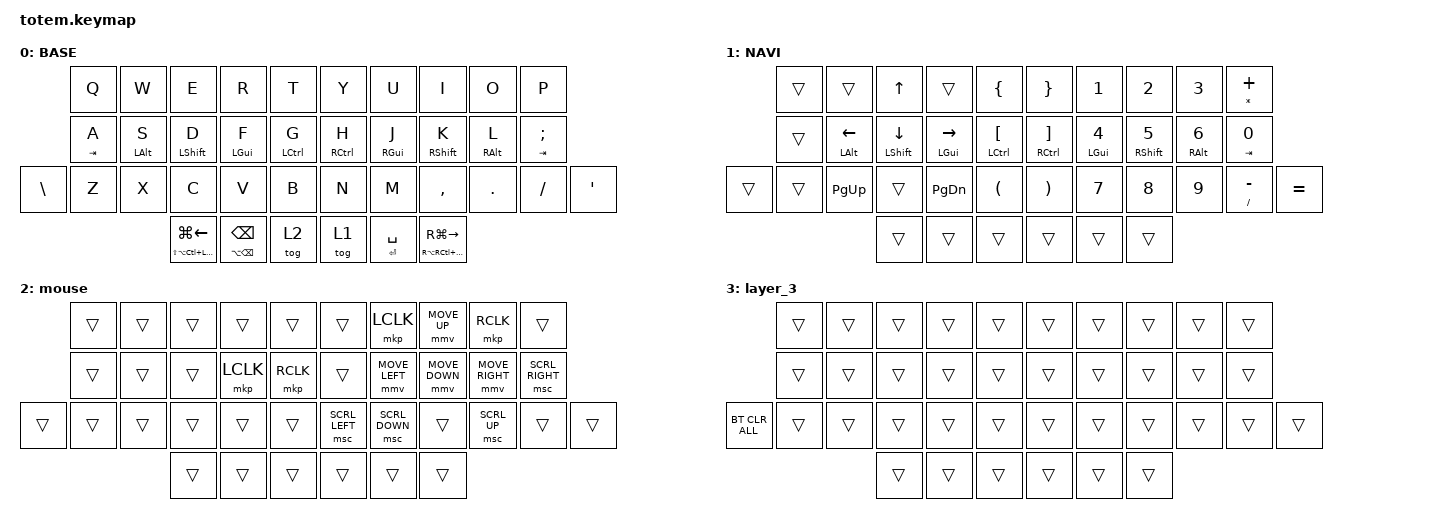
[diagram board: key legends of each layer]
//
//                                                        ▀▀▀▀▀     ▀▀▀▀▀          ▀▀█▀▀
//                                                        ▄▀▀▀▄  ▄  ▄▀▀▀▄  ▄  ▄▀▀▀▄  █  ▄▀▀▀▄
//                                                        █   █  █  █   █  █  █   █  █  █   █
//                                                         ▀▀▀   █   ▀▀▀   █   ▀▀▀   ▀   ▀▀▀
//                                                               █      ▄▄▄█▄▄▄    █   █  
//                                                               ▀      █  █  █     █▄█
//                                                             ▀▀▀▀▀    █  █  █      ▀
//                                                                      ▀  ▀  ▀
//
// ▄▄▄▄▄▄▄▄▄▄▄▄▄▄▄▄▄▄▄▄▄▄▄▄▄▄▄▄▄▄▄▄▄▄▄▄▄▄▄▄▄▄▄▄▄▄▄▄▄▄▄▄▄▄▄▄▄▄▄▄▄▄▄▄▄▄▄▄▄▄▄▄▄▄▄▄▄▄▄▄▄▄▄▄▄▄▄▄▄▄▄▄▄▄▄▄▄▄▄▄▄▄▄▄▄▄▄▄▄▄▄▄▄▄▄▄▄▄▄▄▄▄▄▄▄▄▄▄▄▄▄▄▄▄▄▄▄▄▄▄▄▄▄▄▄▄▄▄▄

#include <behaviors.dtsi>
#include <dt-bindings/zmk/bt.h>
#include <dt-bindings/zmk/keys.h>
#include <dt-bindings/zmk/pointing.h>
#include <dt-bindings/zmk/pointing.h>
#include <dt-bindings/zmk/pointing.h>

#define BASE 0
#define NAV  1
#define SYM  2
#define ADJ  3
#define TVP1 4
#define TVP2 5

&mt {
    quick-tap-ms = <100>;
    global-quick-tap;
    flavor = "tap-preferred";
    tapping-term-ms = <170>;
};

/ {
    combos {
        compatible = "zmk,combos";

        LayerKill {
            bindings = <&to 0>;
            key-positions = <34 35>;
        };

        TO3 {
            bindings = <&to 3>;
            key-positions = <32 37>;
        };
    };

    macros {
        gif: gif {
            label = "giphy";
            compatible = "zmk,behavior-macro";
            #binding-cells = <0>;
            bindings =
                <&macro_press>,
                <&kp LSHFT>,
                <&macro_tap>,
                <&kp N2>,
                <&macro_release>,
                <&kp LSHFT>,
                <&macro_tap>,
                <&kp G &kp I &kp F>;
        };
    };

    keymap {
        compatible = "zmk,keymap";

        // ▄▄▄▄▄▄▄▄▄▄▄▄▄▄▄▄▄▄▄▄▄▄▄▄▄▄▄▄▄▄▄▄▄▄▄▄▄▄▄▄▄▄▄▄▄▄▄▄▄▄▄▄▄▄▄▄▄▄▄▄▄▄▄▄▄▄▄▄▄▄▄▄▄▄▄▄▄▄▄▄▄▄▄▄▄▄▄▄▄▄▄▄▄▄▄▄▄▄▄▄▄▄▄▄▄▄▄▄▄▄▄▄▄▄▄▄▄▄▄▄▄▄▄▄▄▄▄▄▄▄▄▄▄▄▄▄▄▄▄▄▄▄▄▄▄▄▄▄▄

        base_layer {
            // ┏━━━━━━━━━━━━━━━━━━━━━━━━━━━━━━━━━━━━━━━┓

            label = "BASE";

            // ┗━━━━━━━━━━━━━━━━━━━━━━━━━━━━━━━━━━━━━━━┛
            //             ┏━━━━━━━━━━━┳━━━━━━━━━━━┳━━━━━━━━━━━┳━━━━━━━━━━━┳━━━━━━━━━━━┓   ┏━━━━━━━━━━━┳━━━━━━━━━━━┳━━━━━━━━━━━┳━━━━━━━━━━━┳━━━━━━━━━━━┓
            //             ┃     Q     ┃     W     ┃     F     ┃     P     ┃     G     ┃   ┃     J     ┃     L     ┃     U     ┃     Y     ┃     ;     ┃
            //             ┣━━━━━━━━━━━╋━━━━━━━━━━━╋━━━━━━━━━━━╋━━━━━━━━━━━╋━━━━━━━━━━━┫   ┣━━━━━━━━━━━╋━━━━━━━━━━━╋━━━━━━━━━━━╋━━━━━━━━━━━╋━━━━━━━━━━━┫
            //             ┃     A     ┃     R     ┃     S     ┃     T     ┃     D     ┃   ┃     H     ┃     N     ┃     E     ┃     I     ┃     O     ┃
            // ┏━━━━━━━━━━━╋━━━━━━━━━━━╋━━━━━━━━━━━╋━━━━━━━━━━━╋━━━━━━━━━━━╋━━━━━━━━━━━┫   ┣━━━━━━━━━━━╋━━━━━━━━━━━╋━━━━━━━━━━━╋━━━━━━━━━━━╋━━━━━━━━━━━╋━━━━━━━━━━━┓
            // ┃     Q     ┃     Z     ┃     X     ┃     C     ┃     V     ┃     B     ┃   ┃     K     ┃     M     ┃     ,     ┃     .     ┃     /     ┃     \     ┃
            // ┗━━━━━━━━━━━┻━━━━━━━━━━━┻━━━━━━━━━━━╋━━━━━━━━━━━╋━━━━━━━━━━━╋━━━━━━━━━━━┫   ┣━━━━━━━━━━━╋━━━━━━━━━━━╋━━━━━━━━━━━╋━━━━━━━━━━━┻━━━━━━━━━━━┻━━━━━━━━━━━┛
            //                                     ┃    DEL    ┃    TAB    ┃    SPC    ┃   ┃   ENTER   ┃           ┃   BSPC    ┃
            //                                     ┗━━━━━━━━━━━┻━━━━━━━━━━━┻━━━━━━━━━━━┛   ┗━━━━━━━━━━━┻━━━━━━━━━━━┻━━━━━━━━━━━┛

            bindings = <
               &kp Q      &kp W       &kp E                              &kp R                        &kp T                 &kp Y                &kp U             &kp I                                &kp O       &kp P
               &mt TAB A  &mt LALT S  &mt LEFT_SHIFT D                   &mt LGUI F                   &mt LEFT_CONTROL G    &mt RIGHT_CONTROL H  &mt RGUI J        &mt RIGHT_SHIFT K                    &mt RALT L  &mt TAB SEMI
&kp BACKSLASH  &kp Z      &kp X       &kp C                              &kp V                        &kp B                 &kp N                &kp M             &kp COMMA                            &kp DOT     &kp FSLH      &kp APOS
                                      &mt LS(LA(LC(LEFT_GUI))) LG(LEFT)  &mt LA(BACKSPACE) BACKSPACE  &tog 2                &tog 1               &mt RETURN SPACE  &mt RA(RC(RS(RIGHT_GUI))) RG(RIGHT)
            >;
        };

        // ▄▄▄▄▄▄▄▄▄▄▄▄▄▄▄▄▄▄▄▄▄▄▄▄▄▄▄▄▄▄▄▄▄▄▄▄▄▄▄▄▄▄▄▄▄▄▄▄▄▄▄▄▄▄▄▄▄▄▄▄▄▄▄▄▄▄▄▄▄▄▄▄▄▄▄▄▄▄▄▄▄▄▄▄▄▄▄▄▄▄▄▄▄▄▄▄▄▄▄▄▄▄▄▄▄▄▄▄▄▄▄▄▄▄▄▄▄▄▄▄▄▄▄▄▄▄▄▄▄▄▄▄▄▄▄▄▄▄▄▄▄▄▄▄▄▄▄▄▄

        nav_layer {
            // ┏━━━━━━━━━━━━━━━━━━━━━━━━━━━━━━━━━━━━━━━┓

            label = "NAVI";

            // ┗━━━━━━━━━━━━━━━━━━━━━━━━━━━━━━━━━━━━━━━┛
            //             ┏━━━━━━━━━━━┳━━━━━━━━━━━┳━━━━━━━━━━━┳━━━━━━━━━━━┳━━━━━━━━━━━┓   ┏━━━━━━━━━━━┳━━━━━━━━━━━┳━━━━━━━━━━━┳━━━━━━━━━━━┳━━━━━━━━━━━┓
            //             ┃           ┃           ┃     UP    ┃           ┃     {     ┃   ┃     }     ┃     7     ┃     8     ┃     9     ┃     +     ┃
            //             ┣━━━━━━━━━━━╋━━━━━━━━━━━╋━━━━━━━━━━━╋━━━━━━━━━━━╋━━━━━━━━━━━┫   ┣━━━━━━━━━━━╋━━━━━━━━━━━╋━━━━━━━━━━━╋━━━━━━━━━━━╋━━━━━━━━━━━┫
            //             ┃   SHIFT   ┃   LEFT    ┃    DOWN   ┃   RIGHT   ┃     [     ┃   ┃     ]     ┃     4     ┃     5     ┃     6     ┃     -     ┃
            // ┏━━━━━━━━━━━╋━━━━━━━━━━━╋━━━━━━━━━━━╋━━━━━━━━━━━╋━━━━━━━━━━━╋━━━━━━━━━━━┫   ┣━━━━━━━━━━━╋━━━━━━━━━━━╋━━━━━━━━━━━╋━━━━━━━━━━━╋━━━━━━━━━━━╋━━━━━━━━━━━┓
            // ┃           ┃           ┃   P UP    ┃  C LOCK   ┃  P DOWN   ┃     (     ┃   ┃     )     ┃     1     ┃     2     ┃     3     ┃     *     ┃           ┃
            // ┗━━━━━━━━━━━┻━━━━━━━━━━━┻━━━━━━━━━━━╋━━━━━━━━━━━╋━━━━━━━━━━━╋━━━━━━━━━━━┫   ┣━━━━━━━━━━━╋━━━━━━━━━━━╋━━━━━━━━━━━╋━━━━━━━━━━━┻━━━━━━━━━━━┻━━━━━━━━━━━┛
            //                                     ┃           ┃    TAB    ┃    SPC    ┃   ┃    DEL    ┃     0     ┃           ┃
            //                                     ┗━━━━━━━━━━━┻━━━━━━━━━━━┻━━━━━━━━━━━┛   ┗━━━━━━━━━━━┻━━━━━━━━━━━┻━━━━━━━━━━━┛

            bindings = <
        &trans  &trans                   &kp UP                     &trans          &kp LBRC                  &kp RBRC                         &kp NUMBER_1       &kp NUMBER_2        &kp NUMBER_3            &mt ASTERISK PLUS
        &trans  &mt LEFT_ALT LEFT_ARROW  &mt LEFT_SHIFT DOWN_ARROW  &mt LGUI RIGHT  &mt LCTRL LEFT_BRACKET    &mt RIGHT_CONTROL RIGHT_BRACKET  &mt LGUI NUMBER_4  &mt RIGHT_SHIFT N5  &mt RIGHT_ALT NUMBER_6  &mt TAB N0
&trans  &trans  &kp PG_UP                &trans                     &kp PG_DN       &kp LPAR                  &kp RPAR                         &kp N7             &kp N8              &kp N9                  &mt SLASH MINUS    &kp EQUAL
                                         &trans                     &trans          &trans                    &trans                           &trans             &trans
            >;
        };

        // ▄▄▄▄▄▄▄▄▄▄▄▄▄▄▄▄▄▄▄▄▄▄▄▄▄▄▄▄▄▄▄▄▄▄▄▄▄▄▄▄▄▄▄▄▄▄▄▄▄▄▄▄▄▄▄▄▄▄▄▄▄▄▄▄▄▄▄▄▄▄▄▄▄▄▄▄▄▄▄▄▄▄▄▄▄▄▄▄▄▄▄▄▄▄▄▄▄▄▄▄▄▄▄▄▄▄▄▄▄▄▄▄▄▄▄▄▄▄▄▄▄▄▄▄▄▄▄▄▄▄▄▄▄▄▄▄▄▄▄▄▄▄▄▄▄▄▄▄▄
        // ▄▄▄▄▄▄▄▄▄▄▄▄▄▄▄▄▄▄▄▄▄▄▄▄▄▄▄▄▄▄▄▄▄▄▄▄▄▄▄▄▄▄▄▄▄▄▄▄▄▄▄▄▄▄▄▄▄▄▄▄▄▄▄▄▄▄▄▄▄▄▄▄▄▄▄▄▄▄▄▄▄▄▄▄▄▄▄▄▄▄▄▄▄▄▄▄▄▄▄▄▄▄▄▄▄▄▄▄▄▄▄▄▄▄▄▄▄▄▄▄▄▄▄▄▄▄▄▄▄▄▄▄▄▄▄▄▄▄▄▄▄▄▄▄▄▄▄▄▄
        // ▄▄▄▄▄▄▄▄▄▄▄▄▄▄▄▄▄▄▄▄▄▄▄▄▄▄▄▄▄▄▄▄▄▄▄▄▄▄▄▄▄▄▄▄▄▄▄▄▄▄▄▄▄▄▄▄▄▄▄▄▄▄▄▄▄▄▄▄▄▄▄▄▄▄▄▄▄▄▄▄▄▄▄▄▄▄▄▄▄▄▄▄▄▄▄▄▄▄▄▄▄▄▄▄▄▄▄▄▄▄▄▄▄▄▄▄▄▄▄▄▄▄▄▄▄▄▄▄▄▄▄▄▄▄▄▄▄▄▄▄▄▄▄▄▄▄▄▄▄
        // ▄▄▄▄▄▄▄▄▄▄▄▄▄▄▄▄▄▄▄▄▄▄▄▄▄▄▄▄▄▄▄▄▄▄▄▄▄▄▄▄▄▄▄▄▄▄▄▄▄▄▄▄▄▄▄▄▄▄▄▄▄▄▄▄▄▄▄▄▄▄▄▄▄▄▄▄▄▄▄▄▄▄▄▄▄▄▄▄▄▄▄▄▄▄▄▄▄▄▄▄▄▄▄▄▄▄▄▄▄▄▄▄▄▄▄▄▄▄▄▄▄▄▄▄▄▄▄▄▄▄▄▄▄▄▄▄▄▄▄▄▄▄▄▄▄▄▄▄▄

        mouse {
            bindings = <
        &trans  &trans  &trans  &trans     &trans       &trans          &mkp LCLK       &mmv MOVE_UP    &mkp RCLK        &trans
        &trans  &trans  &trans  &mkp LCLK  &mkp RCLK    &trans          &mmv MOVE_LEFT  &mmv MOVE_DOWN  &mmv MOVE_RIGHT  &msc SCRL_RIGHT
&trans  &trans  &trans  &trans  &trans     &trans       &msc SCRL_LEFT  &msc SCRL_DOWN  &trans          &msc SCRL_UP     &trans           &trans
                        &trans  &trans     &trans       &trans          &trans          &trans
            >;
        };

        layer_3 {
            bindings = <
                &trans  &trans  &trans  &trans  &trans    &trans  &trans  &trans  &trans  &trans
                &trans  &trans  &trans  &trans  &trans    &trans  &trans  &trans  &trans  &trans
&bt BT_CLR_ALL  &trans  &trans  &trans  &trans  &trans    &trans  &trans  &trans  &trans  &trans  &trans
                                &trans  &trans  &trans    &trans  &trans  &trans
            >;
        };
    };
};
